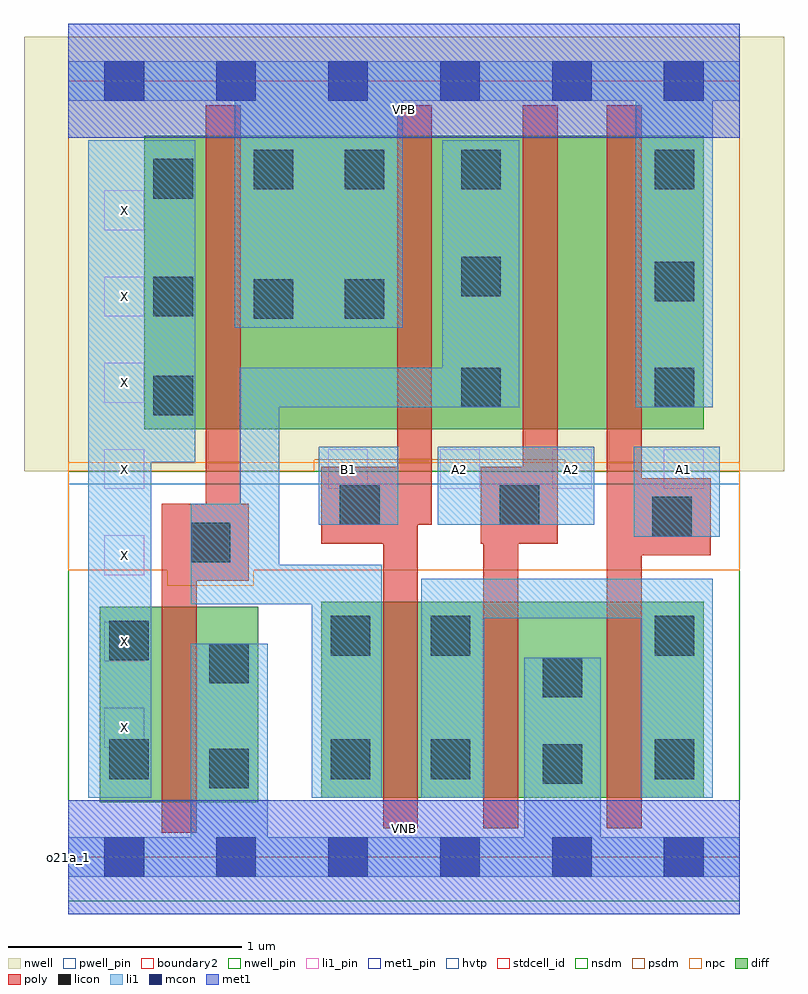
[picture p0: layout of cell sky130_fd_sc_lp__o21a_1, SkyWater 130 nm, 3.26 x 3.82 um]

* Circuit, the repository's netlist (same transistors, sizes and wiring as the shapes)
* Copyright 2020 The SkyWater PDK Authors
*
* Licensed under the Apache License, Version 2.0 (the "License");
* you may not use this file except in compliance with the License.
* You may obtain a copy of the License at
*
*     https://www.apache.org/licenses/LICENSE-2.0
*
* Unless required by applicable law or agreed to in writing, software
* distributed under the License is distributed on an "AS IS" BASIS,
* WITHOUT WARRANTIES OR CONDITIONS OF ANY KIND, either express or implied.
* See the License for the specific language governing permissions and
* limitations under the License.
*
* SPDX-License-Identifier: Apache-2.0

.SUBCKT sky130_fd_sc_lp__o21a_1 A1 A2 B1 VGND VNB VPB VPWR X
*.PININFO A1:I A2:I B1:I VGND:I VNB:I VPB:I VPWR:I X:O
MMPA0 VPWR A1 sndA1 VPB sky130_fd_pr__pfet_01v8_hvt m=1 w=1.26U l=0.15U mult=1
+ sa=0.265 sb=0.265 sd=0.28 area=0.063 perim=1.14
MMPA1 sndA1 A2 y VPB sky130_fd_pr__pfet_01v8_hvt m=1 w=1.26U l=0.15U mult=1 sa=0.265
+ sb=0.265 sd=0.28 area=0.063 perim=1.14
MMPB0 VPWR B1 y VPB sky130_fd_pr__pfet_01v8_hvt m=1 w=1.26U l=0.15U mult=1 sa=0.265
+ sb=0.265 sd=0.28 area=0.063 perim=1.14
MMIPX X y VPWR VPB sky130_fd_pr__pfet_01v8_hvt m=1 w=1.26U l=0.15U mult=1 sa=0.265
+ sb=0.265 sd=0.28 area=0.063 perim=1.14
MMNA0 pndA A1 VGND VNB sky130_fd_pr__nfet_01v8 m=1 w=0.84U l=0.15U mult=1 sa=0.265
+ sb=0.265 sd=0.28 area=0.063 perim=1.14
MMNA1 pndA A2 VGND VNB sky130_fd_pr__nfet_01v8 m=1 w=0.84U l=0.15U mult=1 sa=0.265
+ sb=0.265 sd=0.28 area=0.063 perim=1.14
MMNB0 y B1 pndA VNB sky130_fd_pr__nfet_01v8 m=1 w=0.84U l=0.15U mult=1 sa=0.265
+ sb=0.265 sd=0.28 area=0.063 perim=1.14
MMINX X y VGND VNB sky130_fd_pr__nfet_01v8 m=1 w=0.84U l=0.15U mult=1 sa=0.265
+ sb=0.265 sd=0.28 area=0.063 perim=1.14
.ENDS sky130_fd_sc_lp__o21a_1

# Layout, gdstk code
import gdstk
lib = gdstk.Library(unit=1e-6, precision=1e-09)
def R(c, l, rs):  # rectangles x0, y0, x1, y1
    for r in rs: c.add(gdstk.rectangle(r[:2], r[2:], *l))
def A(c, l, x, y, w, h, nx, ny, dx, dy):  # array of equal rectangles
    R(c, l, [(x+i*dx, y+j*dy, x+i*dx+w, y+j*dy+h) for i in range(nx) for j in range(ny)])
def P(c, l, *ps):  # polygons
    for p in ps: c.add(gdstk.Polygon(p, *l))
nwell_pin = (64, 16)
nwell = (64, 20)
diff = (65, 20)
poly = (66, 20)
licon = (66, 44)
li1_pin = (67, 16)
li1 = (67, 20)
mcon = (67, 44)
met1_pin = (68, 16)
met1 = (68, 20)
hvtp = (78, 44)
stdcell_id = (81, 4)
nsdm = (93, 44)
psdm = (94, 20)
npc = (95, 20)
pwell_pin = (122, 16)
boundary2 = (236, 0)

sky130_fd_sc_lp__o21a_1 = lib.new_cell('sky130_fd_sc_lp__o21a_1')
R(sky130_fd_sc_lp__o21a_1, nwell_pin, [(0,3.085,2.88,3.33)])
R(sky130_fd_sc_lp__o21a_1, nwell, [(-0.19,1.655,3.07,3.52)])
R(sky130_fd_sc_lp__o21a_1, diff, [(0.135,0.235,0.815,1.075), (1.085,0.255,2.725,1.095), (0.325,1.835,2.725,3.095)])
P(sky130_fd_sc_lp__o21a_1, poly, [(0.775,1.515),(0.74,1.515),(0.74,3.225),(0.59,3.225),(0.59,1.515),(0.4,1.515),(0.4,0.105),(0.55,0.105),(0.55,1.185),(0.775,1.185)],
  [(1.56,3.225),(1.41,3.225),(1.41,1.675),(1.085,1.675),(1.085,1.345),(1.35,1.345),(1.35,0.125),(1.5,0.125),(1.5,1.425),(1.56,1.425)],
  [(2.1,3.225),(1.95,3.225),(1.95,1.675),(1.77,1.675),(1.77,1.345),(1.78,1.345),(1.78,0.125),(1.93,0.125),(1.93,1.345),(2.1,1.345)],
  [(2.755,1.625),(2.46,1.625),(2.46,3.225),(2.31,3.225),(2.31,0.125),(2.46,0.125),(2.46,1.295),(2.755,1.295)])
R(sky130_fd_sc_lp__o21a_1, licon, [(0.605,0.295,0.775,0.465), (2.035,0.315,2.205,0.485), (0.175,0.335,0.345,0.505), (1.125,0.335,1.295,0.505), (1.555,0.335,1.725,0.505), (2.515,0.335,2.685,0.505), (2.035,0.685,2.205,0.855), (0.605,0.745,0.775,0.915), (0.175,0.845,0.345,1.015), (1.125,0.865,1.295,1.035), (1.555,0.865,1.725,1.035), (2.515,0.865,2.685,1.035), (0.525,1.265,0.695,1.435), (2.505,1.375,2.675,1.545), (1.165,1.425,1.335,1.595), (1.85,1.425,2.02,1.595), (0.365,1.895,0.535,2.065), (1.685,1.93,1.855,2.1), (2.515,1.93,2.685,2.1), (0.795,2.31,0.965,2.48), (1.185,2.31,1.355,2.48), (0.365,2.32,0.535,2.49), (2.515,2.385,2.685,2.555), (1.685,2.405,1.855,2.575), (0.365,2.825,0.535,2.995), (0.795,2.865,0.965,3.035), (1.185,2.865,1.355,3.035), (1.685,2.865,1.855,3.035), (2.515,2.865,2.685,3.035)])
A(sky130_fd_sc_lp__o21a_1, li1_pin, 0.155, 0.47, 0.17, 0.17, 1, 7, 0, 0.37)
A(sky130_fd_sc_lp__o21a_1, li1_pin, 1.115, 1.58, 0.17, 0.17, 4, 1, 0.48, 0)
R(sky130_fd_sc_lp__o21a_1, li1, [(2.425,1.375,2.795,1.76), (1.075,1.425,1.415,1.76), (1.585,1.425,2.255,1.76)])
P(sky130_fd_sc_lp__o21a_1, li1, [(2.435,1.93),(2.435,3.245),(1.435,3.245),(1.435,2.27),(0.715,2.27),(0.715,3.245),(0,3.245),(0,3.415),(2.88,3.415),(2.88,3.245),(2.765,3.245),(2.765,1.93)],
  [(0.525,0.085),(0.525,0.915),(0.855,0.915),(0.855,0.085),(1.955,0.085),(1.955,0.855),(2.285,0.855),(2.285,0.085),(2.88,0.085),(2.88,-0.085),(0,-0.085),(0,0.085)],
  [(0.085,3.075),(0.545,3.075),(0.545,1.695),(0.355,1.695),(0.355,0.255),(0.085,0.255)],
  [(0.735,2.1),(1.605,2.1),(1.605,3.075),(1.935,3.075),(1.935,1.93),(0.905,1.93),(0.905,1.255),(1.345,1.255),(1.345,0.255),(1.045,0.255),(1.045,1.085),(0.525,1.085),(0.525,1.515),(0.735,1.515)],
  [(2.455,1.025),(1.785,1.025),(1.785,0.255),(1.515,0.255),(1.515,1.195),(2.765,1.195),(2.765,0.255),(2.455,0.255)])
A(sky130_fd_sc_lp__o21a_1, mcon, 0.155, -0.085, 0.17, 0.17, 6, 2, 0.48, 3.33)
R(sky130_fd_sc_lp__o21a_1, met1_pin, [(0,0,2.88,0.245), (0,3.085,2.88,3.33)])
R(sky130_fd_sc_lp__o21a_1, met1, [(0,-0.245,2.88,0.245), (0,3.085,2.88,3.575)])
R(sky130_fd_sc_lp__o21a_1, hvtp, [(0,1.6,2.88,3.33)])
R(sky130_fd_sc_lp__o21a_1, stdcell_id, [(0,0,2.88,3.33)])
R(sky130_fd_sc_lp__o21a_1, nsdm, [(0,-0.19,2.88,1.655)])
P(sky130_fd_sc_lp__o21a_1, psdm, [(2.88,3.52),(0,3.52),(0,1.655),(1.055,1.655),(1.055,1.705),(2.13,1.705),(2.13,1.655),(2.88,1.655)])
P(sky130_fd_sc_lp__o21a_1, npc, [(2.88,1.695),(0,1.695),(0,1.23),(0.425,1.23),(0.425,1.165),(0.795,1.165),(0.795,1.23),(2.88,1.23)])
R(sky130_fd_sc_lp__o21a_1, pwell_pin, [(0,0,2.88,0.245)])
R(sky130_fd_sc_lp__o21a_1, boundary2, [(0,0,2.88,3.33)])
sky130_fd_sc_lp__o21a_1.add(gdstk.Label('VNB', (1.44,0.123), layer=64, texttype=59))
sky130_fd_sc_lp__o21a_1.add(gdstk.Label('VPB', (1.44,3.208), layer=64, texttype=5))
sky130_fd_sc_lp__o21a_1.add(gdstk.Label('o21a_1', (0,0), layer=83, texttype=44))
sky130_fd_sc_lp__o21a_1.add(gdstk.Label('VPWR', (1.44,3.208), layer=68, texttype=5))
sky130_fd_sc_lp__o21a_1.add(gdstk.Label('VGND', (1.44,0.123), layer=68, texttype=5))
sky130_fd_sc_lp__o21a_1.add(gdstk.Label('A2', (1.68,1.665), layer=67, texttype=5))
sky130_fd_sc_lp__o21a_1.add(gdstk.Label('A2', (2.16,1.665), layer=67, texttype=5))
sky130_fd_sc_lp__o21a_1.add(gdstk.Label('X', (0.24,0.555), layer=67, texttype=5))
sky130_fd_sc_lp__o21a_1.add(gdstk.Label('X', (0.24,0.925), layer=67, texttype=5))
sky130_fd_sc_lp__o21a_1.add(gdstk.Label('X', (0.24,1.295), layer=67, texttype=5))
sky130_fd_sc_lp__o21a_1.add(gdstk.Label('X', (0.24,1.665), layer=67, texttype=5))
sky130_fd_sc_lp__o21a_1.add(gdstk.Label('X', (0.24,2.035), layer=67, texttype=5))
sky130_fd_sc_lp__o21a_1.add(gdstk.Label('X', (0.24,2.405), layer=67, texttype=5))
sky130_fd_sc_lp__o21a_1.add(gdstk.Label('X', (0.24,2.775), layer=67, texttype=5))
sky130_fd_sc_lp__o21a_1.add(gdstk.Label('A1', (2.64,1.665), layer=67, texttype=5))
sky130_fd_sc_lp__o21a_1.add(gdstk.Label('B1', (1.2,1.665), layer=67, texttype=5))

lib.write_gds('sky130_fd_sc_lp__o21a_1.gds')
